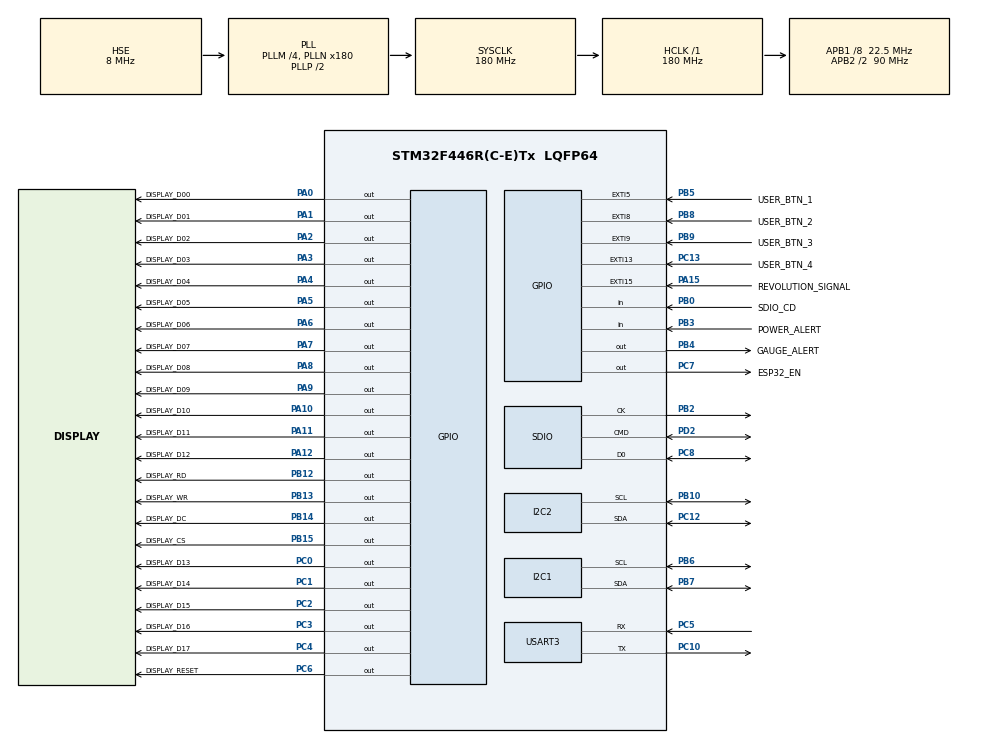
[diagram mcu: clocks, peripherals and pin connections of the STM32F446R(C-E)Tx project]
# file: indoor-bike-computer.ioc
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Dma.Request0=USART3_RX
Dma.Request1=USART3_TX
Dma.USART3_RX.0.Direction=DMA_PERIPH_TO_MEMORY
Dma.USART3_RX.0.FIFOMode=DMA_FIFOMODE_DISABLE
Dma.USART3_RX.0.Instance=DMA1_Stream1
Dma.USART3_RX.0.MemDataAlignment=DMA_MDATAALIGN_BYTE
Dma.USART3_RX.0.MemInc=DMA_MINC_ENABLE
Dma.USART3_RX.0.Mode=DMA_NORMAL
Dma.USART3_RX.0.PeriphDataAlignment=DMA_PDATAALIGN_BYTE
Dma.USART3_RX.0.PeriphInc=DMA_PINC_DISABLE
Dma.USART3_RX.0.Priority=DMA_PRIORITY_LOW
Dma.USART3_TX.1.Direction=DMA_MEMORY_TO_PERIPH
Dma.USART3_TX.1.FIFOMode=DMA_FIFOMODE_DISABLE
Dma.USART3_TX.1.Instance=DMA1_Stream3
Dma.USART3_TX.1.MemDataAlignment=DMA_MDATAALIGN_BYTE
Dma.USART3_TX.1.MemInc=DMA_MINC_ENABLE
Dma.USART3_TX.1.Mode=DMA_NORMAL
Dma.USART3_TX.1.PeriphDataAlignment=DMA_PDATAALIGN_BYTE
Dma.USART3_TX.1.PeriphInc=DMA_PINC_DISABLE
Dma.USART3_TX.1.Priority=DMA_PRIORITY_LOW
FATFS.BSP.number=1
FATFS._LFN_UNICODE=0
FATFS._USE_LFN=2
FATFS0.BSP.STBoard=false
FATFS0.BSP.api=Unknown
FATFS0.BSP.instance=PB0
FATFS0.BSP.ip=GPIO
FATFS0.BSP.mode=Input
FATFS0.BSP.name=Detect_SDIO
FATFS0.BSP.solution=PB0
Mcu.Family=STM32F4
Mcu.Name=STM32F446R(C-E)Tx
Mcu.Package=LQFP64
NVIC.DMA1_Stream1_IRQn=true\:0\:0\:false\:false\:true\:false\:true\:true
NVIC.DMA1_Stream3_IRQn=true\:0\:0\:false\:false\:true\:false\:true\:true
NVIC.EXTI15_10_IRQn=true\:0\:0\:false\:false\:true\:true\:true\:true
NVIC.EXTI9_5_IRQn=true\:0\:0\:false\:false\:true\:true\:true\:true
NVIC.PriorityGroup=NVIC_PRIORITYGROUP_3
NVIC.RCC_IRQn=true\:0\:0\:false\:false\:true\:true\:false\:true
NVIC.RTC_WKUP_IRQn=true\:1\:0\:true\:false\:true\:true\:true\:true
NVIC.TIM7_IRQn=true\:0\:0\:false\:false\:true\:true\:true\:true
NVIC.TIM8_TRG_COM_TIM14_IRQn=true\:0\:0\:false\:false\:true\:true\:true\:true
NVIC.USART3_IRQn=true\:0\:0\:false\:false\:true\:true\:true\:true
PA0-WKUP.GPIO_Label=DISPLAY_D00
PA0-WKUP.Signal=GPIO_Output
PA1.GPIO_Label=DISPLAY_D01
PA1.Signal=GPIO_Output
PA10.GPIO_Label=DISPLAY_D10
PA10.Signal=GPIO_Output
PA11.GPIO_Label=DISPLAY_D11
PA11.Signal=GPIO_Output
PA12.GPIO_Label=DISPLAY_D12
PA12.Signal=GPIO_Output
PA13.Mode=Serial_Wire
PA13.Signal=SYS_JTMS-SWDIO
PA14.Mode=Serial_Wire
PA14.Signal=SYS_JTCK-SWCLK
PA15.GPIO_Label=REVOLUTION_SIGNAL
PA15.GPIO_ModeDefaultEXTI=GPIO_MODE_IT_FALLING
PA15.GPIO_PuPd=GPIO_PULLUP
PA15.Signal=GPXTI15
PA2.GPIO_Label=DISPLAY_D02
PA2.Signal=GPIO_Output
PA3.GPIO_Label=DISPLAY_D03
PA3.Signal=GPIO_Output
PA4.GPIO_Label=DISPLAY_D04
PA4.Signal=GPIO_Output
PA5.GPIO_Label=DISPLAY_D05
PA5.Signal=GPIO_Output
PA6.GPIO_Label=DISPLAY_D06
PA6.Signal=GPIO_Output
PA7.GPIO_Label=DISPLAY_D07
PA7.Signal=GPIO_Output
PA8.GPIO_Label=DISPLAY_D08
PA8.Signal=GPIO_Output
PA9.GPIO_Label=DISPLAY_D09
PA9.Signal=GPIO_Output
PB0.GPIO_Label=SDIO_CD
PB0.Signal=GPIO_Input
PB10.Mode=I2C
PB10.Signal=I2C2_SCL
PB12.GPIO_Label=DISPLAY_RD
PB12.Signal=GPIO_Output
PB13.GPIO_Label=DISPLAY_WR
PB13.Signal=GPIO_Output
PB14.GPIO_Label=DISPLAY_DC
PB14.Signal=GPIO_Output
PB15.GPIO_Label=DISPLAY_CS
PB15.Signal=GPIO_Output
PB2.GPIO_Speed_High_Default=GPIO_SPEED_FREQ_MEDIUM
PB2.Mode=SD_1_bit
PB2.Signal=SDIO_CK
PB3.GPIO_Label=POWER_ALERT
PB3.Signal=GPIO_Input
PB4.GPIO_Label=GAUGE_ALERT
PB4.Signal=GPIO_Output
PB5.GPIO_Label=USER_BTN_1
PB5.Signal=GPXTI5
PB6.Mode=I2C
PB6.Signal=I2C1_SCL
PB7.Mode=I2C
PB7.Signal=I2C1_SDA
PB8.GPIO_Label=USER_BTN_2
PB8.Signal=GPXTI8
PB9.GPIO_Label=USER_BTN_3
PB9.Signal=GPXTI9
PC0.GPIO_Label=DISPLAY_D13
PC0.Signal=GPIO_Output
PC1.GPIO_Label=DISPLAY_D14
PC1.Signal=GPIO_Output
PC10.Mode=Asynchronous
PC10.Signal=USART3_TX
PC12.Mode=I2C
PC12.Signal=I2C2_SDA
PC13.GPIO_Label=USER_BTN_4
PC13.Signal=GPXTI13
PC14-OSC32_IN.Mode=LSE-External-Oscillator
PC14-OSC32_IN.Signal=RCC_OSC32_IN
PC15-OSC32_OUT.Mode=LSE-External-Oscillator
PC15-OSC32_OUT.Signal=RCC_OSC32_OUT
PC2.GPIO_Label=DISPLAY_D15
PC2.Signal=GPIO_Output
PC3.GPIO_Label=DISPLAY_D16
PC3.Signal=GPIO_Output
PC4.GPIO_Label=DISPLAY_D17
PC4.Signal=GPIO_Output
PC5.Mode=Asynchronous
PC5.Signal=USART3_RX
PC6.GPIO_Label=DISPLAY_RESET
PC6.Signal=GPIO_Output
PC7.GPIO_Label=ESP32_EN
PC7.GPIO_ModeDefaultOutputPP=GPIO_MODE_OUTPUT_OD
PC7.GPIO_PuPd=GPIO_NOPULL
PC7.PinState=GPIO_PIN_SET
PC7.Signal=GPIO_Output
PC8.GPIO_PuPd=GPIO_NOPULL
PC8.GPIO_Speed_High_Default=GPIO_SPEED_FREQ_MEDIUM
PC8.Mode=SD_1_bit
PC8.Signal=SDIO_D0
PD2.GPIO_PuPd=GPIO_NOPULL
PD2.GPIO_Speed_High_Default=GPIO_SPEED_FREQ_MEDIUM
PD2.Mode=SD_1_bit
PD2.Signal=SDIO_CMD
PH0-OSC_IN.Mode=HSE-External-Oscillator
PH0-OSC_IN.Signal=RCC_OSC_IN
PH1-OSC_OUT.Mode=HSE-External-Oscillator
PH1-OSC_OUT.Signal=RCC_OSC_OUT
ProjectManager.HeapSize=0x200
ProjectManager.StackSize=0x400
ProjectManager.TargetToolchain=Makefile
RCC.AHBFreq_Value=180000000
RCC.APB1CLKDivider=RCC_HCLK_DIV8
RCC.APB1Freq_Value=22500000
RCC.APB1TimFreq_Value=45000000
RCC.APB2CLKDivider=RCC_HCLK_DIV2
RCC.APB2Freq_Value=90000000
RCC.APB2TimFreq_Value=180000000
RCC.CortexFreq_Value=180000000
RCC.HCLKFreq_Value=180000000
RCC.HSE_VALUE=8000000
RCC.PLLM=4
RCC.PLLN=180
RCC.PLLQ=8
RCC.PLLSourceVirtual=RCC_PLLSOURCE_HSE
RCC.SYSCLKFreq_VALUE=180000000
RCC.SYSCLKSource=RCC_SYSCLKSOURCE_PLLCLK
RCC.USBFreq_Value=45000000
RCC.VCOOutputFreq_Value=360000000
RTC.Format=RTC_FORMAT_BIN
RTC.WakeUpClock=RTC_WAKEUPCLOCK_CK_SPRE_16BITS
SDIO.ClockDiv=24
TIM14.Period=2000-1
TIM14.Prescaler=9000-1
TIM6.Period=50000
TIM6.Prescaler=4500-1
TIM7.Period=100-1
TIM7.Prescaler=45000-1
USART3.VirtualMode=VM_ASYNC
VP_FATFS_VS_SDIO.Mode=SDIO
VP_RTC_VS_RTC_Activate.Mode=RTC_Enabled
VP_RTC_VS_RTC_WakeUp_intern.Mode=WakeUp
VP_TIM14_VS_ClockSourceINT.Mode=Enable_Timer
VP_TIM6_VS_ClockSourceINT.Mode=Enable_Timer
VP_TIM7_VS_ClockSourceINT.Mode=Enable_Timer
board=custom

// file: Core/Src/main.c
/* USER CODE BEGIN Header */
/**
 ******************************************************************************
 * @file           : main.c
 * @brief          : Main program body
 ******************************************************************************
 * @attention
 *
 * Copyright (c) 2024 STMicroelectronics.
 * All rights reserved.
 *
 * This software is licensed under terms that can be found in the LICENSE file
 * in the root directory of this software component.
 * If no LICENSE file comes with this software, it is provided AS-IS.
 *
 ******************************************************************************
 */
/* USER CODE END Header */
#include "main.h"
#include "fatfs.h"

/* USER CODE BEGIN Includes */
#include "bike.h"
#include "config.h"
#include "data.h"
#include "er_tft035.h"
#include "esp32_uart.h"
#include "gui.h"
#include "main_screen.h"
#include "max17055.h"
#include "mcp3421.h"
#include "stdio.h"
/* USER CODE END Includes */

I2C_HandleTypeDef hi2c1;
I2C_HandleTypeDef hi2c2;

RTC_HandleTypeDef hrtc;

SD_HandleTypeDef hsd;

TIM_HandleTypeDef htim6;
TIM_HandleTypeDef htim7;
TIM_HandleTypeDef htim14;

UART_HandleTypeDef huart3;
DMA_HandleTypeDef hdma_usart3_rx;
DMA_HandleTypeDef hdma_usart3_tx;

void SystemClock_Config(void);
static void MX_GPIO_Init(void);
static void MX_DMA_Init(void);
static void MX_I2C1_Init(void);
static void MX_I2C2_Init(void);
static void MX_SDIO_SD_Init(void);
static void MX_USART3_UART_Init(void);
static void MX_RTC_Init(void);
static void MX_TIM14_Init(void);
static void MX_TIM6_Init(void);
static void MX_TIM7_Init(void);

/* USER CODE BEGIN 0 */

void SDCard_handleError(FRESULT result, char * message) {
    MainScreen_showAlert(ALERT_MODAL_VARIANT_ERROR, 1, "SD card error", message);
}

/* USER CODE END 0 */

int main(void) {

    /* MCU Configuration--------------------------------------------------------*/

    /* Reset of all peripherals, Initializes the Flash interface and the Systick. */
    HAL_Init();

    /* Configure the system clock */
    SystemClock_Config();

    /* Initialize all configured peripherals */
    MX_GPIO_Init();
    MX_DMA_Init();
    MX_I2C1_Init();
    MX_I2C2_Init();
    MX_SDIO_SD_Init();
    MX_USART3_UART_Init();
    MX_RTC_Init();
    MX_TIM14_Init();
    MX_FATFS_Init();
    MX_TIM6_Init();
    MX_TIM7_Init();
    /* USER CODE BEGIN 2 */

    Bike_init(&htim6);
    GUI_init();

    uint8_t sdCardOk = Data_initStorage();

    if (sdCardOk) {
        Data_loadStatistics();
        Config_load();
    } else {
        MainScreen_showAlert(ALERT_MODAL_VARIANT_ERROR, 0, "SD card error", "Unable to initialize the computer, the SD card is missing or not readable!");
    }

    HAL_StatusTypeDef adcInitResult = MCP3421_init(&hi2c2);

    if (adcInitResult == HAL_OK) {
        HAL_TIM_Base_Start_IT(&htim14); // Start timer
        HAL_TIM_Base_Start_IT(&htim7);
    } else if (sdCardOk) {
        MainScreen_showAlert(ALERT_MODAL_VARIANT_ERROR, 0, "Sensor error", "Unable to initialize the computer, one of the sensors is not responding!");
    }

    // MAX17055_init(&hi2c1);

    ESP32_initCommunication(&huart3);

    /* USER CODE END 2 */

    /* Infinite loop */
    /* USER CODE BEGIN WHILE */
    // MAX17055_measurements measurements;

    while (1) {
        /* USER CODE END WHILE */

        /* USER CODE BEGIN 3 */
        uint32_t waitTime = GUI_tick();

        HAL_Delay(waitTime);

        // MAX17055_readMeasurements(&measurements);
        // sprintf(stringBuffer, "Measurements:\n%lu, %lu,\n %lu, %lu", measurements.instantVoltage, measurements.instantCurrent, measurements.instantCapacity, measurements.temperature);
        // MainScreen_showAlert(ALERT_MODAL_VARIANT_INFO, 0, "Measurements", stringBuffer);
    }
    /* USER CODE END 3 */
}

void SystemClock_Config(void) {
    RCC_OscInitTypeDef RCC_OscInitStruct = {0};
    RCC_ClkInitTypeDef RCC_ClkInitStruct = {0};

    /** Configure the main internal regulator output voltage
     */
    __HAL_RCC_PWR_CLK_ENABLE();
    __HAL_PWR_VOLTAGESCALING_CONFIG(PWR_REGULATOR_VOLTAGE_SCALE1);

    /** Initializes the RCC Oscillators according to the specified parameters
     * in the RCC_OscInitTypeDef structure.
     */
    RCC_OscInitStruct.OscillatorType = RCC_OSCILLATORTYPE_LSI | RCC_OSCILLATORTYPE_HSE;
    RCC_OscInitStruct.HSEState       = RCC_HSE_ON;
    RCC_OscInitStruct.LSEState       = RCC_LSE_ON;
    RCC_OscInitStruct.LSIState       = RCC_LSI_ON;
    RCC_OscInitStruct.PLL.PLLState   = RCC_PLL_ON;
    RCC_OscInitStruct.PLL.PLLSource  = RCC_PLLSOURCE_HSE;
    RCC_OscInitStruct.PLL.PLLM       = 4;
    RCC_OscInitStruct.PLL.PLLN       = 180;
    RCC_OscInitStruct.PLL.PLLP       = RCC_PLLP_DIV2;
    RCC_OscInitStruct.PLL.PLLQ       = 8;
    RCC_OscInitStruct.PLL.PLLR       = 2;
    if (HAL_RCC_OscConfig(&RCC_OscInitStruct) != HAL_OK) {
        Error_Handler();
    }

    /** Activate the Over-Drive mode
     */
    if (HAL_PWREx_EnableOverDrive() != HAL_OK) {
        Error_Handler();
    }

    /** Initializes the CPU, AHB and APB buses clocks
     */
    RCC_ClkInitStruct.ClockType      = RCC_CLOCKTYPE_HCLK | RCC_CLOCKTYPE_SYSCLK | RCC_CLOCKTYPE_PCLK1 | RCC_CLOCKTYPE_PCLK2;
    RCC_ClkInitStruct.SYSCLKSource   = RCC_SYSCLKSOURCE_PLLCLK;
    RCC_ClkInitStruct.AHBCLKDivider  = RCC_SYSCLK_DIV1;
    RCC_ClkInitStruct.APB1CLKDivider = RCC_HCLK_DIV8;
    RCC_ClkInitStruct.APB2CLKDivider = RCC_HCLK_DIV2;

    if (HAL_RCC_ClockConfig(&RCC_ClkInitStruct, FLASH_LATENCY_5) != HAL_OK) {
        Error_Handler();
    }
}

static void MX_I2C1_Init(void) {

    hi2c1.Instance             = I2C1;
    hi2c1.Init.ClockSpeed      = 100000;
    hi2c1.Init.DutyCycle       = I2C_DUTYCYCLE_2;
    hi2c1.Init.OwnAddress1     = 0;
    hi2c1.Init.AddressingMode  = I2C_ADDRESSINGMODE_7BIT;
    hi2c1.Init.DualAddressMode = I2C_DUALADDRESS_DISABLE;
    hi2c1.Init.OwnAddress2     = 0;
    hi2c1.Init.GeneralCallMode = I2C_GENERALCALL_DISABLE;
    hi2c1.Init.NoStretchMode   = I2C_NOSTRETCH_DISABLE;
    if (HAL_I2C_Init(&hi2c1) != HAL_OK) {
        Error_Handler();
    }
}

static void MX_I2C2_Init(void) {

    hi2c2.Instance             = I2C2;
    hi2c2.Init.ClockSpeed      = 100000;
    hi2c2.Init.DutyCycle       = I2C_DUTYCYCLE_2;
    hi2c2.Init.OwnAddress1     = 0;
    hi2c2.Init.AddressingMode  = I2C_ADDRESSINGMODE_7BIT;
    hi2c2.Init.DualAddressMode = I2C_DUALADDRESS_DISABLE;
    hi2c2.Init.OwnAddress2     = 0;
    hi2c2.Init.GeneralCallMode = I2C_GENERALCALL_DISABLE;
    hi2c2.Init.NoStretchMode   = I2C_NOSTRETCH_DISABLE;
    if (HAL_I2C_Init(&hi2c2) != HAL_OK) {
        Error_Handler();
    }
}

static void MX_RTC_Init(void) {

    RTC_TimeTypeDef sTime = {0};
    RTC_DateTypeDef sDate = {0};

    /** Initialize RTC Only
     */
    hrtc.Instance            = RTC;
    hrtc.Init.HourFormat     = RTC_HOURFORMAT_24;
    hrtc.Init.AsynchPrediv   = 127;
    hrtc.Init.SynchPrediv    = 255;
    hrtc.Init.OutPut         = RTC_OUTPUT_DISABLE;
    hrtc.Init.OutPutPolarity = RTC_OUTPUT_POLARITY_HIGH;
    hrtc.Init.OutPutType     = RTC_OUTPUT_TYPE_OPENDRAIN;
    if (HAL_RTC_Init(&hrtc) != HAL_OK) {
        Error_Handler();
    }

    /** Initialize RTC and set the Time and Date
     */
    sTime.Hours          = 0;
    sTime.Minutes        = 0;
    sTime.Seconds        = 0;
    sTime.DayLightSaving = RTC_DAYLIGHTSAVING_NONE;
    sTime.StoreOperation = RTC_STOREOPERATION_RESET;
    if (HAL_RTC_SetTime(&hrtc, &sTime, RTC_FORMAT_BIN) != HAL_OK) {
        Error_Handler();
    }
    sDate.WeekDay = RTC_WEEKDAY_MONDAY;
    sDate.Month   = RTC_MONTH_JANUARY;
    sDate.Date    = 1;
    sDate.Year    = 0;

    if (HAL_RTC_SetDate(&hrtc, &sDate, RTC_FORMAT_BIN) != HAL_OK) {
        Error_Handler();
    }

    /** Enable the WakeUp
     */
    if (HAL_RTCEx_SetWakeUpTimer_IT(&hrtc, 0, RTC_WAKEUPCLOCK_CK_SPRE_16BITS) != HAL_OK) {
        Error_Handler();
    }
}

static void MX_SDIO_SD_Init(void) {

    hsd.Instance                 = SDIO;
    hsd.Init.ClockEdge           = SDIO_CLOCK_EDGE_RISING;
    hsd.Init.ClockBypass         = SDIO_CLOCK_BYPASS_DISABLE;
    hsd.Init.ClockPowerSave      = SDIO_CLOCK_POWER_SAVE_DISABLE;
    hsd.Init.BusWide             = SDIO_BUS_WIDE_1B;
    hsd.Init.HardwareFlowControl = SDIO_HARDWARE_FLOW_CONTROL_DISABLE;
    hsd.Init.ClockDiv            = 24;
}

static void MX_TIM6_Init(void) {

    TIM_MasterConfigTypeDef sMasterConfig = {0};

    htim6.Instance               = TIM6;
    htim6.Init.Prescaler         = 4500 - 1;
    htim6.Init.CounterMode       = TIM_COUNTERMODE_UP;
    htim6.Init.Period            = 50000;
    htim6.Init.AutoReloadPreload = TIM_AUTORELOAD_PRELOAD_DISABLE;
    if (HAL_TIM_Base_Init(&htim6) != HAL_OK) {
        Error_Handler();
    }
    sMasterConfig.MasterOutputTrigger = TIM_TRGO_RESET;
    sMasterConfig.MasterSlaveMode     = TIM_MASTERSLAVEMODE_DISABLE;
    if (HAL_TIMEx_MasterConfigSynchronization(&htim6, &sMasterConfig) != HAL_OK) {
        Error_Handler();
    }
}

static void MX_TIM7_Init(void) {

    TIM_MasterConfigTypeDef sMasterConfig = {0};

    htim7.Instance               = TIM7;
    htim7.Init.Prescaler         = 45000 - 1;
    htim7.Init.CounterMode       = TIM_COUNTERMODE_UP;
    htim7.Init.Period            = 100 - 1;
    htim7.Init.AutoReloadPreload = TIM_AUTORELOAD_PRELOAD_DISABLE;
    if (HAL_TIM_Base_Init(&htim7) != HAL_OK) {
        Error_Handler();
    }
    sMasterConfig.MasterOutputTrigger = TIM_TRGO_RESET;
    sMasterConfig.MasterSlaveMode     = TIM_MASTERSLAVEMODE_DISABLE;
    if (HAL_TIMEx_MasterConfigSynchronization(&htim7, &sMasterConfig) != HAL_OK) {
        Error_Handler();
    }
}

static void MX_TIM14_Init(void) {

    htim14.Instance               = TIM14;
    htim14.Init.Prescaler         = 9000 - 1;
    htim14.Init.CounterMode       = TIM_COUNTERMODE_UP;
    htim14.Init.Period            = 2000 - 1;
    htim14.Init.ClockDivision     = TIM_CLOCKDIVISION_DIV1;
    htim14.Init.AutoReloadPreload = TIM_AUTORELOAD_PRELOAD_DISABLE;
    if (HAL_TIM_Base_Init(&htim14) != HAL_OK) {
        Error_Handler();
    }
}

static void MX_USART3_UART_Init(void) {

    huart3.Instance          = USART3;
    huart3.Init.BaudRate     = 115200;
    huart3.Init.WordLength   = UART_WORDLENGTH_8B;
    huart3.Init.StopBits     = UART_STOPBITS_1;
    huart3.Init.Parity       = UART_PARITY_NONE;
    huart3.Init.Mode         = UART_MODE_TX_RX;
    huart3.Init.HwFlowCtl    = UART_HWCONTROL_NONE;
    huart3.Init.OverSampling = UART_OVERSAMPLING_16;
    if (HAL_UART_Init(&huart3) != HAL_OK) {
        Error_Handler();
    }
}

static void MX_DMA_Init(void) {

    /* DMA controller clock enable */
    __HAL_RCC_DMA1_CLK_ENABLE();

    /* DMA interrupt init */
    /* DMA1_Stream1_IRQn interrupt configuration */
    HAL_NVIC_SetPriority(DMA1_Stream1_IRQn, 0, 0);
    HAL_NVIC_EnableIRQ(DMA1_Stream1_IRQn);
    /* DMA1_Stream3_IRQn interrupt configuration */
    HAL_NVIC_SetPriority(DMA1_Stream3_IRQn, 0, 0);
    HAL_NVIC_EnableIRQ(DMA1_Stream3_IRQn);
}

static void MX_GPIO_Init(void) {
    GPIO_InitTypeDef GPIO_InitStruct = {0};

    /* GPIO Ports Clock Enable */
    __HAL_RCC_GPIOC_CLK_ENABLE();
    __HAL_RCC_GPIOH_CLK_ENABLE();
    __HAL_RCC_GPIOA_CLK_ENABLE();
    __HAL_RCC_GPIOB_CLK_ENABLE();
    __HAL_RCC_GPIOD_CLK_ENABLE();

    /*Configure GPIO pin Output Level */
    HAL_GPIO_WritePin(GPIOC, DISPLAY_D13_Pin | DISPLAY_D14_Pin | DISPLAY_D15_Pin | DISPLAY_D16_Pin | DISPLAY_D17_Pin | DISPLAY_RESET_Pin, GPIO_PIN_RESET);

    /*Configure GPIO pin Output Level */
    HAL_GPIO_WritePin(GPIOA, DISPLAY_D00_Pin | DISPLAY_D01_Pin | DISPLAY_D02_Pin | DISPLAY_D03_Pin | DISPLAY_D04_Pin | DISPLAY_D05_Pin | DISPLAY_D06_Pin | DISPLAY_D07_Pin | DISPLAY_D08_Pin | DISPLAY_D09_Pin | DISPLAY_D10_Pin | DISPLAY_D11_Pin | DISPLAY_D12_Pin, GPIO_PIN_RESET);

    /*Configure GPIO pin Output Level */
    HAL_GPIO_WritePin(GPIOB, DISPLAY_RD_Pin | DISPLAY_WR_Pin | DISPLAY_DC_Pin | DISPLAY_CS_Pin | GAUGE_ALERT_Pin, GPIO_PIN_RESET);

    /*Configure GPIO pin Output Level */
    HAL_GPIO_WritePin(ESP32_EN_GPIO_Port, ESP32_EN_Pin, GPIO_PIN_SET);

    /*Configure GPIO pin : USER_BTN_4_Pin */
    GPIO_InitStruct.Pin  = USER_BTN_4_Pin;
    GPIO_InitStruct.Mode = GPIO_MODE_IT_RISING;
    GPIO_InitStruct.Pull = GPIO_NOPULL;
    HAL_GPIO_Init(USER_BTN_4_GPIO_Port, &GPIO_InitStruct);

    /*Configure GPIO pins : DISPLAY_D13_Pin DISPLAY_D14_Pin DISPLAY_D15_Pin DISPLAY_D16_Pin
                             DISPLAY_D17_Pin DISPLAY_RESET_Pin */
    GPIO_InitStruct.Pin   = DISPLAY_D13_Pin | DISPLAY_D14_Pin | DISPLAY_D15_Pin | DISPLAY_D16_Pin | DISPLAY_D17_Pin | DISPLAY_RESET_Pin;
    GPIO_InitStruct.Mode  = GPIO_MODE_OUTPUT_PP;
    GPIO_InitStruct.Pull  = GPIO_NOPULL;
    GPIO_InitStruct.Speed = GPIO_SPEED_FREQ_LOW;
    HAL_GPIO_Init(GPIOC, &GPIO_InitStruct);

    /*Configure GPIO pins : DISPLAY_D00_Pin DISPLAY_D01_Pin DISPLAY_D02_Pin DISPLAY_D03_Pin
                             DISPLAY_D04_Pin DISPLAY_D05_Pin DISPLAY_D06_Pin DISPLAY_D07_Pin
                             DISPLAY_D08_Pin DISPLAY_D09_Pin DISPLAY_D10_Pin DISPLAY_D11_Pin
                             DISPLAY_D12_Pin */
    GPIO_InitStruct.Pin   = DISPLAY_D00_Pin | DISPLAY_D01_Pin | DISPLAY_D02_Pin | DISPLAY_D03_Pin | DISPLAY_D04_Pin | DISPLAY_D05_Pin | DISPLAY_D06_Pin | DISPLAY_D07_Pin | DISPLAY_D08_Pin | DISPLAY_D09_Pin | DISPLAY_D10_Pin | DISPLAY_D11_Pin | DISPLAY_D12_Pin;
    GPIO_InitStruct.Mode  = GPIO_MODE_OUTPUT_PP;
    GPIO_InitStruct.Pull  = GPIO_NOPULL;
    GPIO_InitStruct.Speed = GPIO_SPEED_FREQ_LOW;
    HAL_GPIO_Init(GPIOA, &GPIO_InitStruct);

    /*Configure GPIO pins : SDIO_CD_Pin POWER_ALERT_Pin */
    GPIO_InitStruct.Pin  = SDIO_CD_Pin | POWER_ALERT_Pin;
    GPIO_InitStruct.Mode = GPIO_MODE_INPUT;
    GPIO_InitStruct.Pull = GPIO_NOPULL;
    HAL_GPIO_Init(GPIOB, &GPIO_InitStruct);

    /*Configure GPIO pins : DISPLAY_RD_Pin DISPLAY_WR_Pin DISPLAY_DC_Pin DISPLAY_CS_Pin
                             GAUGE_ALERT_Pin */
    GPIO_InitStruct.Pin   = DISPLAY_RD_Pin | DISPLAY_WR_Pin | DISPLAY_DC_Pin | DISPLAY_CS_Pin | GAUGE_ALERT_Pin;
    GPIO_InitStruct.Mode  = GPIO_MODE_OUTPUT_PP;
    GPIO_InitStruct.Pull  = GPIO_NOPULL;
    GPIO_InitStruct.Speed = GPIO_SPEED_FREQ_LOW;
    HAL_GPIO_Init(GPIOB, &GPIO_InitStruct);

    /*Configure GPIO pin : ESP32_EN_Pin */
    GPIO_InitStruct.Pin   = ESP32_EN_Pin;
    GPIO_InitStruct.Mode  = GPIO_MODE_OUTPUT_OD;
    GPIO_InitStruct.Pull  = GPIO_NOPULL;
    GPIO_InitStruct.Speed = GPIO_SPEED_FREQ_LOW;
    HAL_GPIO_Init(ESP32_EN_GPIO_Port, &GPIO_InitStruct);

    /*Configure GPIO pin : REVOLUTION_SIGNAL_Pin */
    GPIO_InitStruct.Pin  = REVOLUTION_SIGNAL_Pin;
    GPIO_InitStruct.Mode = GPIO_MODE_IT_FALLING;
    GPIO_InitStruct.Pull = GPIO_PULLUP;
    HAL_GPIO_Init(REVOLUTION_SIGNAL_GPIO_Port, &GPIO_InitStruct);

    /*Configure GPIO pins : USER_BTN_1_Pin USER_BTN_2_Pin USER_BTN_3_Pin */
    GPIO_InitStruct.Pin  = USER_BTN_1_Pin | USER_BTN_2_Pin | USER_BTN_3_Pin;
    GPIO_InitStruct.Mode = GPIO_MODE_IT_RISING;
    GPIO_InitStruct.Pull = GPIO_NOPULL;
    HAL_GPIO_Init(GPIOB, &GPIO_InitStruct);

    /* EXTI interrupt init*/
    HAL_NVIC_SetPriority(EXTI9_5_IRQn, 0, 0);
    HAL_NVIC_EnableIRQ(EXTI9_5_IRQn);

    HAL_NVIC_SetPriority(EXTI15_10_IRQn, 0, 0);
    HAL_NVIC_EnableIRQ(EXTI15_10_IRQn);

}

/* USER CODE BEGIN 4 */

ESP32_UART_Packet packet = {0};

void HAL_UART_RxCpltCallback(UART_HandleTypeDef * huart) {
    ESP32_receiveData(&packet);

    MainScreen_showAlert(ALERT_MODAL_VARIANT_INFO, 0, "Received Data", (char *)packet.data);
}

/* USER CODE END 4 */

void Error_Handler(void) {
    __disable_irq();
    while (1) {
    }
}
